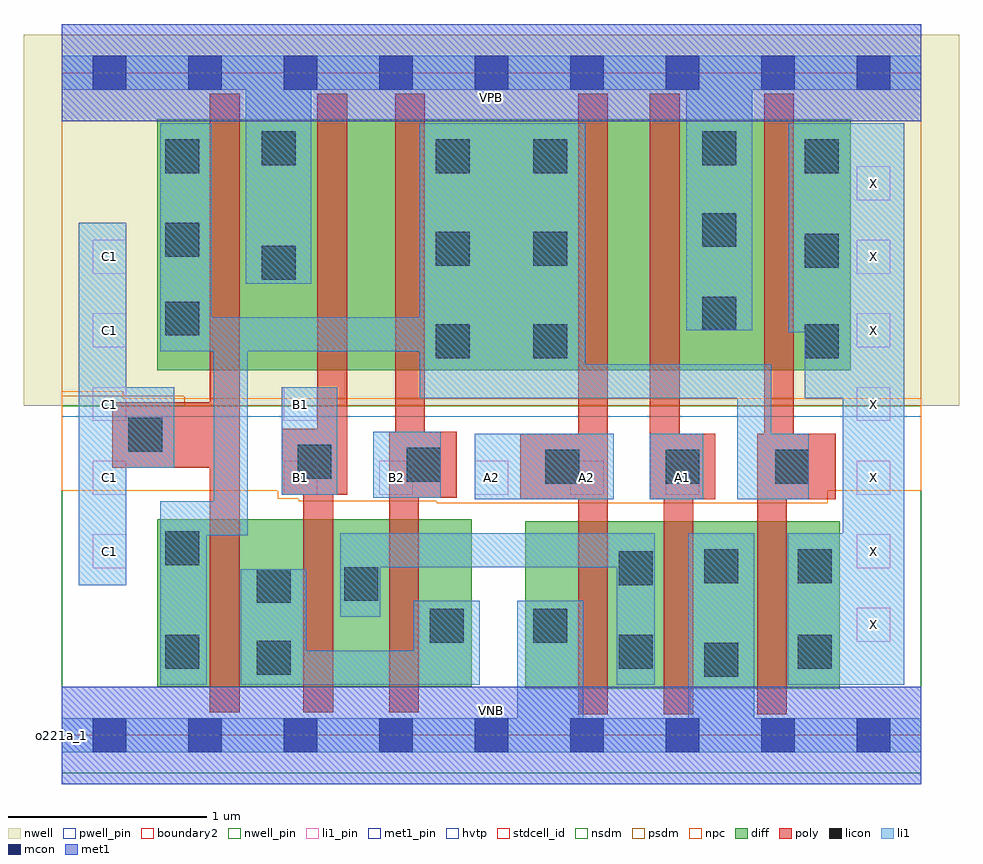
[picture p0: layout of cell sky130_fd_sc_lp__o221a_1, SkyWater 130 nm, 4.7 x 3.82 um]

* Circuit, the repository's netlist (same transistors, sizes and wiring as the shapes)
* Copyright 2020 The SkyWater PDK Authors
*
* Licensed under the Apache License, Version 2.0 (the "License");
* you may not use this file except in compliance with the License.
* You may obtain a copy of the License at
*
*     https://www.apache.org/licenses/LICENSE-2.0
*
* Unless required by applicable law or agreed to in writing, software
* distributed under the License is distributed on an "AS IS" BASIS,
* WITHOUT WARRANTIES OR CONDITIONS OF ANY KIND, either express or implied.
* See the License for the specific language governing permissions and
* limitations under the License.
*
* SPDX-License-Identifier: Apache-2.0

.SUBCKT sky130_fd_sc_lp__o221a_1 A1 A2 B1 B2 C1 VGND VNB VPB VPWR X
*.PININFO A1:I A2:I B1:I B2:I C1:I VGND:I VNB:I VPB:I VPWR:I X:O
MMPA0 VPWR A1 sndA1 VPB sky130_fd_pr__pfet_01v8_hvt m=1 w=1.26U l=0.15U mult=1
+ sa=0.265 sb=0.265 sd=0.28 area=0.063 perim=1.14
MMPA1 sndA1 A2 y VPB sky130_fd_pr__pfet_01v8_hvt m=1 w=1.26U l=0.15U mult=1 sa=0.265
+ sb=0.265 sd=0.28 area=0.063 perim=1.14
MMPB0 VPWR B1 sndB1 VPB sky130_fd_pr__pfet_01v8_hvt m=1 w=1.26U l=0.15U mult=1
+ sa=0.265 sb=0.265 sd=0.28 area=0.063 perim=1.14
MMPB1 sndB1 B2 y VPB sky130_fd_pr__pfet_01v8_hvt m=1 w=1.26U l=0.15U mult=1 sa=0.265
+ sb=0.265 sd=0.28 area=0.063 perim=1.14
MMPC0 VPWR C1 y VPB sky130_fd_pr__pfet_01v8_hvt m=1 w=1.26U l=0.15U mult=1 sa=0.265
+ sb=0.265 sd=0.28 area=0.063 perim=1.14
MMIPX X y VPWR VPB sky130_fd_pr__pfet_01v8_hvt m=1 w=1.26U l=0.15U mult=1 sa=0.265
+ sb=0.265 sd=0.28 area=0.063 perim=1.14
MMNA0 pndA A1 VGND VNB sky130_fd_pr__nfet_01v8 m=1 w=0.84U l=0.15U mult=1 sa=0.265
+ sb=0.265 sd=0.28 area=0.063 perim=1.14
MMNA1 pndA A2 VGND VNB sky130_fd_pr__nfet_01v8 m=1 w=0.84U l=0.15U mult=1 sa=0.265
+ sb=0.265 sd=0.28 area=0.063 perim=1.14
MMNB0 pndB B1 pndA VNB sky130_fd_pr__nfet_01v8 m=1 w=0.84U l=0.15U mult=1 sa=0.265
+ sb=0.265 sd=0.28 area=0.063 perim=1.14
MMNB1 pndB B2 pndA VNB sky130_fd_pr__nfet_01v8 m=1 w=0.84U l=0.15U mult=1 sa=0.265
+ sb=0.265 sd=0.28 area=0.063 perim=1.14
MMNC0 y C1 pndB VNB sky130_fd_pr__nfet_01v8 m=1 w=0.84U l=0.15U mult=1 sa=0.265
+ sb=0.265 sd=0.28 area=0.063 perim=1.14
MMINX X y VGND VNB sky130_fd_pr__nfet_01v8 m=1 w=0.84U l=0.15U mult=1 sa=0.265
+ sb=0.265 sd=0.28 area=0.063 perim=1.14
.ENDS sky130_fd_sc_lp__o221a_1

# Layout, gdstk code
import gdstk
lib = gdstk.Library(unit=1e-6, precision=1e-09)
def R(c, l, rs):  # rectangles x0, y0, x1, y1
    for r in rs: c.add(gdstk.rectangle(r[:2], r[2:], *l))
def A(c, l, x, y, w, h, nx, ny, dx, dy):  # array of equal rectangles
    R(c, l, [(x+i*dx, y+j*dy, x+i*dx+w, y+j*dy+h) for i in range(nx) for j in range(ny)])
def P(c, l, *ps):  # polygons
    for p in ps: c.add(gdstk.Polygon(p, *l))
nwell_pin = (64, 16)
nwell = (64, 20)
diff = (65, 20)
poly = (66, 20)
licon = (66, 44)
li1_pin = (67, 16)
li1 = (67, 20)
mcon = (67, 44)
met1_pin = (68, 16)
met1 = (68, 20)
hvtp = (78, 44)
stdcell_id = (81, 4)
nsdm = (93, 44)
psdm = (94, 20)
npc = (95, 20)
pwell_pin = (122, 16)
boundary2 = (236, 0)

sky130_fd_sc_lp__o221a_1 = lib.new_cell('sky130_fd_sc_lp__o221a_1')
R(sky130_fd_sc_lp__o221a_1, nwell_pin, [(0,3.085,4.32,3.33)])
R(sky130_fd_sc_lp__o221a_1, nwell, [(-0.19,1.655,4.51,3.52)])
R(sky130_fd_sc_lp__o221a_1, diff, [(2.33,0.235,3.91,1.075), (0.48,0.245,2.06,1.085), (0.48,1.835,3.965,3.095)])
P(sky130_fd_sc_lp__o221a_1, poly, [(3.89,1.515),(3.68,1.515),(3.68,3.225),(3.53,3.225),(3.53,1.515),(3.495,1.515),(3.495,0.105),(3.645,0.105),(3.645,1.185),(3.89,1.185)],
  [(3.285,1.515),(3.105,1.515),(3.105,3.225),(2.955,3.225),(2.955,1.185),(3.025,1.185),(3.025,0.105),(3.175,0.105),(3.175,1.185),(3.285,1.185)],
  [(0.895,3.225),(0.745,3.225),(0.745,1.675),(0.255,1.675),(0.255,1.345),(0.745,1.345),(0.745,0.115),(0.895,0.115)],
  [(2.745,3.225),(2.595,3.225),(2.595,1.515),(2.305,1.515),(2.305,1.185),(2.595,1.185),(2.595,0.105),(2.745,0.105)],
  [(1.435,3.225),(1.285,3.225),(1.285,1.54),(1.105,1.54),(1.105,1.21),(1.215,1.21),(1.215,0.115),(1.365,0.115),(1.365,1.21),(1.435,1.21)],
  [(1.985,1.525),(1.825,1.525),(1.825,3.225),(1.675,3.225),(1.675,1.525),(1.645,1.525),(1.645,0.115),(1.795,0.115),(1.795,1.195),(1.985,1.195)])
A(sky130_fd_sc_lp__o221a_1, licon, 1.88, 1.895, 0.17, 0.17, 1, 3, 0, 0.465)
A(sky130_fd_sc_lp__o221a_1, licon, 2.37, 1.895, 0.17, 0.17, 1, 3, 0, 0.465)
R(sky130_fd_sc_lp__o221a_1, licon, [(3.23,0.295,3.4,0.465), (0.98,0.305,1.15,0.475), (0.52,0.335,0.69,0.505), (2.8,0.335,2.97,0.505), (3.7,0.335,3.87,0.505), (1.85,0.465,2.02,0.635), (2.37,0.465,2.54,0.635), (0.98,0.665,1.15,0.835), (1.42,0.675,1.59,0.845), (2.8,0.755,2.97,0.925), (3.23,0.765,3.4,0.935), (3.7,0.765,3.87,0.935), (0.52,0.855,0.69,1.025), (2.43,1.265,2.6,1.435), (3.035,1.265,3.205,1.435), (3.585,1.265,3.755,1.435), (1.735,1.275,1.905,1.445), (1.185,1.29,1.355,1.46), (0.335,1.425,0.505,1.595), (3.735,1.895,3.905,2.065), (0.52,2.01,0.69,2.18), (3.22,2.035,3.39,2.205), (1.005,2.29,1.175,2.46), (3.735,2.35,3.905,2.52), (0.52,2.405,0.69,2.575), (3.22,2.455,3.39,2.625), (0.52,2.825,0.69,2.995), (3.735,2.825,3.905,2.995), (1.005,2.865,1.175,3.035), (3.22,2.865,3.39,3.035)])
A(sky130_fd_sc_lp__o221a_1, li1_pin, 3.995, 0.47, 0.17, 0.17, 1, 7, 0, 0.37)
A(sky130_fd_sc_lp__o221a_1, li1_pin, 0.155, 0.84, 0.17, 0.17, 1, 5, 0, 0.37)
A(sky130_fd_sc_lp__o221a_1, li1_pin, 1.115, 1.21, 0.17, 0.17, 5, 1, 0.48, 0)
R(sky130_fd_sc_lp__o221a_1, li1_pin, [(1.115,1.58,1.285,1.75)])
R(sky130_fd_sc_lp__o221a_1, li1, [(2.075,1.185,2.775,1.515), (2.955,1.185,3.225,1.515), (1.565,1.195,1.905,1.525), (1.105,1.21,1.385,1.75)])
P(sky130_fd_sc_lp__o221a_1, li1, [(0.565,1.75),(0.325,1.75),(0.325,2.575),(0.085,2.575),(0.085,0.755),(0.325,0.755),(0.325,1.345),(0.565,1.345)],
  [(3.755,1.515),(3.565,1.515),(3.565,1.865),(2.63,1.865),(2.63,3.075),(1.8,3.075),(1.8,2.1),(0.755,2.1),(0.755,3.075),(0.495,3.075),(0.495,1.93),(0.765,1.93),(0.765,1.175),(0.495,1.175),(0.495,0.255),(0.73,0.255),(0.73,1.005),(0.935,1.005),(0.935,1.93),(1.8,1.93),(1.8,1.695),(3.395,1.695),(3.395,1.185),(3.755,1.185)],
  [(2.98,1.015),(1.4,1.015),(1.4,0.595),(1.6,0.595),(1.6,0.845),(2.79,0.845),(2.79,0.255),(2.98,0.255)],
  [(4.235,3.075),(3.655,3.075),(3.655,2.025),(3.735,2.025),(3.735,1.695),(3.925,1.695),(3.925,1.015),(3.65,1.015),(3.65,0.255),(4.235,0.255)],
  [(2.1,0.675),(1.77,0.675),(1.77,0.425),(1.23,0.425),(1.23,0.835),(0.9,0.835),(0.9,0.255),(2.1,0.255)],
  [(4.32,0.085),(3.48,0.085),(3.48,1.015),(3.15,1.015),(3.15,0.085),(2.62,0.085),(2.62,0.675),(2.29,0.675),(2.29,0.085),(0,0.085),(0,-0.085),(4.32,-0.085)],
  [(4.32,3.415),(0,3.415),(0,3.245),(0.925,3.245),(0.925,2.27),(1.255,2.27),(1.255,3.245),(3.14,3.245),(3.14,2.035),(3.47,2.035),(3.47,3.245),(4.32,3.245)])
A(sky130_fd_sc_lp__o221a_1, mcon, 0.155, -0.085, 0.17, 0.17, 9, 2, 0.48, 3.33)
R(sky130_fd_sc_lp__o221a_1, met1_pin, [(0,0,4.32,0.245), (0,3.085,4.32,3.33)])
R(sky130_fd_sc_lp__o221a_1, met1, [(0,-0.245,4.32,0.245), (0,3.085,4.32,3.575)])
R(sky130_fd_sc_lp__o221a_1, hvtp, [(0,1.6,4.32,3.33)])
R(sky130_fd_sc_lp__o221a_1, stdcell_id, [(0,0,4.32,3.33)])
R(sky130_fd_sc_lp__o221a_1, nsdm, [(0,-0.19,4.32,1.655)])
P(sky130_fd_sc_lp__o221a_1, psdm, [(4.32,3.52),(0,3.52),(0,1.705),(0.615,1.705),(0.615,1.655),(4.32,1.655)])
P(sky130_fd_sc_lp__o221a_1, npc, [(4.32,1.695),(0.31,1.695),(0.31,1.73),(0,1.73),(0,1.23),(1.085,1.23),(1.085,1.19),(1.19,1.19),(1.19,1.175),(1.885,1.175),(1.885,1.165),(3.85,1.165),(3.85,1.23),(4.32,1.23)])
R(sky130_fd_sc_lp__o221a_1, pwell_pin, [(0,0,4.32,0.245)])
R(sky130_fd_sc_lp__o221a_1, boundary2, [(0,0,4.32,3.33)])
sky130_fd_sc_lp__o221a_1.add(gdstk.Label('VNB', (2.16,0.123), layer=64, texttype=59))
sky130_fd_sc_lp__o221a_1.add(gdstk.Label('VPB', (2.16,3.208), layer=64, texttype=5))
sky130_fd_sc_lp__o221a_1.add(gdstk.Label('o221a_1', (0,0), layer=83, texttype=44))
sky130_fd_sc_lp__o221a_1.add(gdstk.Label('VPWR', (2.16,3.208), layer=68, texttype=5))
sky130_fd_sc_lp__o221a_1.add(gdstk.Label('VGND', (2.16,0.123), layer=68, texttype=5))
sky130_fd_sc_lp__o221a_1.add(gdstk.Label('A1', (3.12,1.295), layer=67, texttype=5))
sky130_fd_sc_lp__o221a_1.add(gdstk.Label('B1', (1.2,1.295), layer=67, texttype=5))
sky130_fd_sc_lp__o221a_1.add(gdstk.Label('B1', (1.2,1.665), layer=67, texttype=5))
sky130_fd_sc_lp__o221a_1.add(gdstk.Label('B2', (1.68,1.295), layer=67, texttype=5))
sky130_fd_sc_lp__o221a_1.add(gdstk.Label('C1', (0.24,1.665), layer=67, texttype=5))
sky130_fd_sc_lp__o221a_1.add(gdstk.Label('A2', (2.16,1.295), layer=67, texttype=5))
sky130_fd_sc_lp__o221a_1.add(gdstk.Label('A2', (2.64,1.295), layer=67, texttype=5))
sky130_fd_sc_lp__o221a_1.add(gdstk.Label('X', (4.08,0.555), layer=67, texttype=5))
sky130_fd_sc_lp__o221a_1.add(gdstk.Label('X', (4.08,0.925), layer=67, texttype=5))
sky130_fd_sc_lp__o221a_1.add(gdstk.Label('X', (4.08,1.295), layer=67, texttype=5))
sky130_fd_sc_lp__o221a_1.add(gdstk.Label('X', (4.08,1.665), layer=67, texttype=5))
sky130_fd_sc_lp__o221a_1.add(gdstk.Label('X', (4.08,2.035), layer=67, texttype=5))
sky130_fd_sc_lp__o221a_1.add(gdstk.Label('X', (4.08,2.405), layer=67, texttype=5))
sky130_fd_sc_lp__o221a_1.add(gdstk.Label('X', (4.08,2.775), layer=67, texttype=5))
sky130_fd_sc_lp__o221a_1.add(gdstk.Label('C1', (0.24,0.925), layer=67, texttype=5))
sky130_fd_sc_lp__o221a_1.add(gdstk.Label('C1', (0.24,1.295), layer=67, texttype=5))
sky130_fd_sc_lp__o221a_1.add(gdstk.Label('C1', (0.24,2.405), layer=67, texttype=5))
sky130_fd_sc_lp__o221a_1.add(gdstk.Label('C1', (0.24,2.035), layer=67, texttype=5))

lib.write_gds('sky130_fd_sc_lp__o221a_1.gds')
